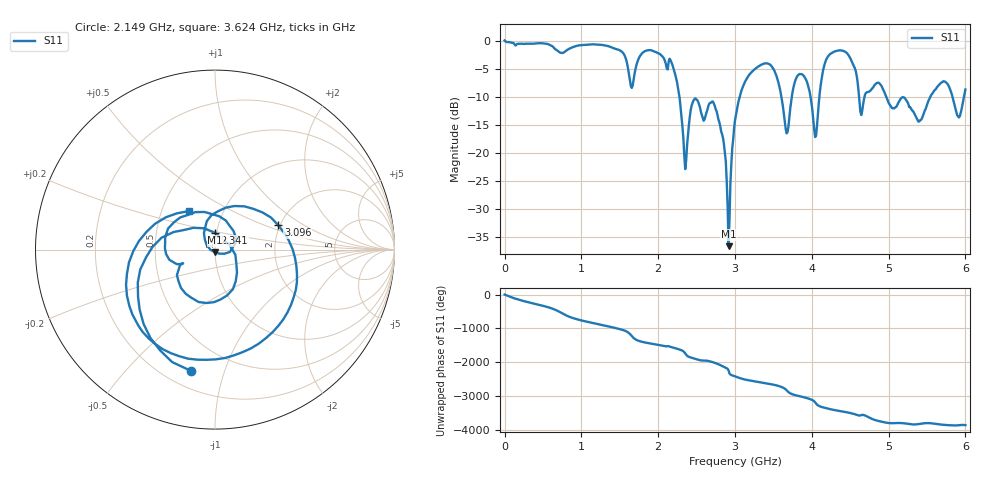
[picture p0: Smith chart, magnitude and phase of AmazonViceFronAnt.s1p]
# Hz S RI R 50
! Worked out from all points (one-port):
!   501 points, 1 MHz to 6 GHz, reference 50 ohm
!   lowest |S11| = -36.6 dB at 2.917 GHz (marker M1), VSWR 1.03, Z = 50 - j1.48 ohm
!   |S11| at or under -10 dB: 2.277 GHz to 3.063 GHz (785.6 MHz wide, 29.4 % of centre); 4.969 GHz to 5.544 GHz (575 MHz wide, 10.9 % of centre); 5.832 GHz to 5.98 GHz (148.2 MHz wide, 2.51 % of centre)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
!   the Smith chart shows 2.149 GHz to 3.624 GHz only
!   S11 on the Smith chart (normalised r, x): 2.149 GHz: 0.30, -0.77; 2.341 GHz: 0.98, +0.19; 3.096 GHz: 1.96, +0.62; 3.624 GHz: 0.69, +0.32
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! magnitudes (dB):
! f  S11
! 1 MHz  0.0
! 756.9 MHz  -2.2
! 1.501 GHz  -1.7
! 1.657 GHz  -8.4
! 1.825 GHz  -1.9
! 2.149 GHz  -3.2
! 2.257 GHz  -8.3
! 2.341 GHz  -20.6
! 2.461 GHz  -10.7
! 2.713 GHz  -10.9
! 2.857 GHz  -18.5
! 2.917 GHz  -36.6
! 3.001 GHz  -14.2
! 3.096 GHz  -8.5
! 3.444 GHz  -4.2
! 3.624 GHz  -11.7
! 3.684 GHz  -16.3
! 3.756 GHz  -8.7
! 3.912 GHz  -6.7
! 4.044 GHz  -17.2
! 4.2 GHz  -3.1
! 4.5 GHz  -3.1
! 4.644 GHz  -13.3
! 4.86 GHz  -7.5
! 5.256 GHz  -11.3
! 5.724 GHz  -7.3
! 5.916 GHz  -13.7
! 6 GHz  -8.7
